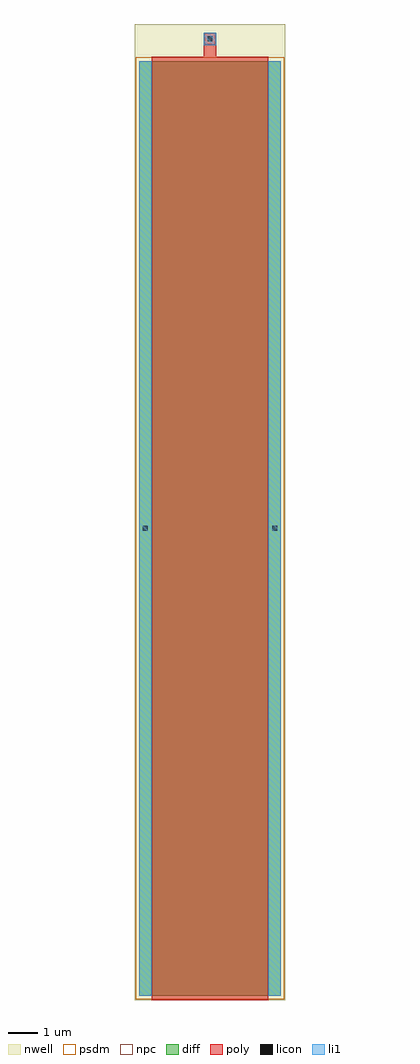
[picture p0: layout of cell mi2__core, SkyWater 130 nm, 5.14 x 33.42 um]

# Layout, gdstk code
import gdstk
lib = gdstk.Library(unit=1e-6, precision=1e-09)
def R(c, l, rs):  # rectangles x0, y0, x1, y1
    for r in rs: c.add(gdstk.rectangle(r[:2], r[2:], *l))
nwell = (64, 20)
diff = (65, 20)
poly = (66, 20)
licon = (66, 44)
li1 = (67, 20)
psdm = (94, 20)
npc = (95, 20)

mi2__core = lib.new_cell('mi2__core')
R(mi2__core, nwell, [(-0.15,-0.15,4.99,33.27)])
R(mi2__core, diff, [(0,0,4.84,32)])
R(mi2__core, poly, [(0.42,-0.15,4.42,32), (0.42,32,4.42,32.15), (0.42,32,4.42,32.15), (2.21,32.15,2.63,32.97)])
R(mi2__core, licon, [(0.125,15.915,0.295,16.085), (4.545,15.915,4.715,16.085), (2.335,32.675,2.505,32.845)])
R(mi2__core, li1, [(0,0,0.42,32), (4.42,0,4.84,32), (2.21,32.55,2.63,32.97)])
R(mi2__core, psdm, [(-0.125,-0.125,4.965,32.125)])
R(mi2__core, npc, [(2.235,32.575,2.605,32.945)])

lib.write_gds('mi2__core.gds')
